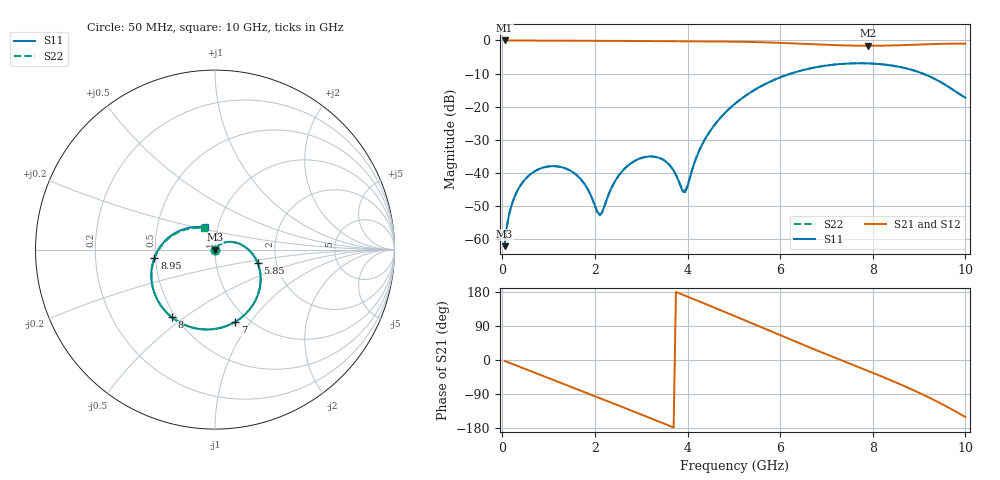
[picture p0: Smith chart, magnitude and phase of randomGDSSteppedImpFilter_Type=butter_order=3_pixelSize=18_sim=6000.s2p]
! freq	dB(S11)	phase(S11)	dB(S12)	phase(S12)
!  dB(S21)	phase(S21)	dB(S22)	phase(S22)
!S-par simulation data
#  GHz  S  DB  R 50
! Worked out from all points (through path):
!   200 points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, 50 MHz to 10 GHz, reference 50 ohm
!   highest |S21| = 0.00 dB at 50 MHz (marker M1); lowest = -1.6 dB at 7.9 GHz (marker M2)
!   group delay of S21, straight-line fit = 139 ps
!   lowest |S11| = -62.1 dB at 50 MHz (marker M3), VSWR 1.00, Z = 50 - j0.0779 ohm
!   |S11| at or under -10 dB: start of sweep to 6.233 GHz; 9.079 GHz to end of sweep
!   |S22| runs from -62.2 to -6.9 dB; largest |S21 - S12| = 0
!   S11 on the Smith chart (normalised r, x): 50 MHz: 1.00, -0.00; 5.85 GHz: 1.60, -0.26; 7 GHz: 0.87, -0.85; 8 GHz: 0.48, -0.45; 8.95 GHz: 0.49, -0.05; 10 GHz: 0.87, +0.22
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0.05  -62.15 -85.5  -0.00 -2.4  -0.00 -2.4  -62.15 -85.4
0.15  -52.41 -92.0  -0.01 -7.2  -0.01 -7.2  -52.41 -92.0
0.25  -47.76 -97.2  -0.02 -12.0  -0.02 -12.0  -47.76 -97.2
0.6  -40.51 -117.5  -0.03 -28.7  -0.03 -28.7  -40.52 -117.5
1.2  -38.06 -151.7  -0.06 -57.3  -0.06 -57.3  -38.07 -151.6
1.75  -42.85 171.4  -0.09 -83.5  -0.09 -83.5  -42.87 171.8
2.1  -52.66 86.4  -0.11 -100.3  -0.11 -100.3  -52.86 86.4
2.65  -38.61 -22.2  -0.15 -126.8  -0.15 -126.8  -38.61 -22.3
3.4  -35.56 -59.2  -0.20 -163.3  -0.20 -163.3  -35.53 -58.7
3.65  -38.32 -63.9  -0.22 -175.5  -0.22 -175.5  -38.25 -62.9
3.95  -45.87 -0.9  -0.24 169.7  -0.24 169.7  -45.34 -1.6
4.4  -29.30 47.7  -0.28 147.3  -0.28 147.3  -29.28 46.9
5.05  -18.84 21.3  -0.38 114.3  -0.38 114.3  -18.83 20.9
5.85  -12.04 -17.8  -0.66 73.1  -0.66 73.1  -12.04 -17.9
6.7  -8.30 -59.8  -1.15 29.9  -1.15 29.9  -8.29 -59.9
7  -7.58 -74.4  -1.32 15.1  -1.32 15.1  -7.58 -74.4
7.9  -6.93 -117.7  -1.60 -28.9  -1.60 -28.9  -6.93 -117.5
8  -7.00 -122.6  -1.60 -33.8  -1.60 -33.8  -6.99 -122.4
8.35  -7.46 -140.1  -1.54 -51.4  -1.54 -51.4  -7.45 -139.7
8.95  -9.35 -172.4  -1.27 -83.7  -1.27 -83.7  -9.34 -171.5
9.5  -12.86 153.2  -1.01 -116.7  -1.01 -116.7  -12.84 155.3
10  -17.29 113.5  -0.96 -150.5  -0.96 -150.5  -17.30 118.0
